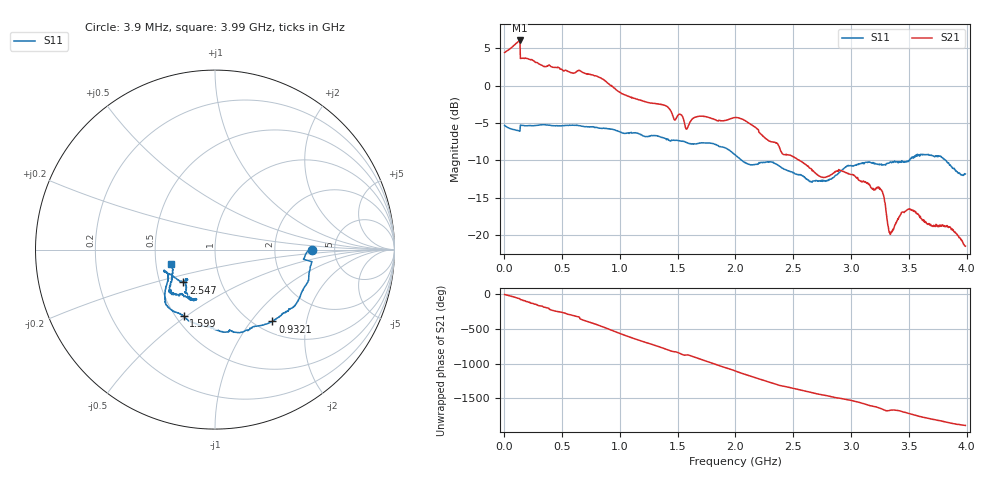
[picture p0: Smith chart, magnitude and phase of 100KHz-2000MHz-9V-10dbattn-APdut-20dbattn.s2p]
# HZ S RI R 50
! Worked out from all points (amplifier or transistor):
!   1023 points, 3.9 MHz to 3.99 GHz, reference 50 ohm
!   highest |S21| = 6.1 dB at 136.5 MHz (marker M1)
!   |S21| within 3 dB of that: start of sweep to 290.1 MHz
!   S11 on the Smith chart (normalised r, x): 3.9 MHz: 3.37, -0.01; 932.1 MHz: 1.19, -1.29; 1.599 GHz: 0.55, -0.49; 2.547 GHz: 0.66, -0.26; 3.99 GHz: 0.60, -0.10
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3900000  0.542 -0.00062  1.671 -0.0231  0 0  0 0
8.19e7  0.5088 -0.0207  1.506 -1.09  0 0  0 0
1.365e8  0.4932 -0.0542  0.9687 -1.765  0 0  0 0
2.457e8  0.5249 -0.1255  -0.9448 -1.145  0 0  0 0
3.51e8  0.5178 -0.1798  -1.346 0.0774  0 0  0 0
4.212e8  0.4979 -0.2096  -0.8336 1.036  0 0  0 0
5.187e8  0.476 -0.2576  -0.0826 1.253  0 0  0 0
6.318e8  0.4424 -0.3154  0.9601 0.8119  0 0  0 0
6.708e8  0.4253 -0.3271  1.237 -0.0546  0 0  0 0
8.073e8  0.3881 -0.3512  0.2136 -1.134  0 0  0 0
9.321e8  0.3202 -0.4  -0.9279 -0.3607  0 0  0 0
1.1076e9  0.171 -0.4511  -0.0203 0.8338  0 0  0 0
1.2246e9  0.0832 -0.4491  0.6989 0.347  0 0  0 0
1.3338e9  0.0389 -0.4562  0.6394 -0.4008  0 0  0 0
1.599e9  -0.1735 -0.3712  -0.5131 -0.2064  0 0  0 0
1.7901e9  -0.268 -0.3125  -0.0186 0.6055  0 0  0 0
1.9968e9  -0.2732 -0.2103  0.5613 -0.2458  0 0  0 0
2.2425e9  -0.2836 -0.1152  -0.431 -0.1534  0 0  0 0
2.5467e9  -0.1766 -0.1827  0.1322 0.29  0 0  0 0
2.6637e9  -0.1566 -0.162  0.2518 0.0952  0 0  0 0
3.3267e9  -0.1114 -0.2815  -0.054 0.0932  0 0  0 0
3.9897e9  -0.2438 -0.0789  -0.00561 -0.0839  0 0  0 0
